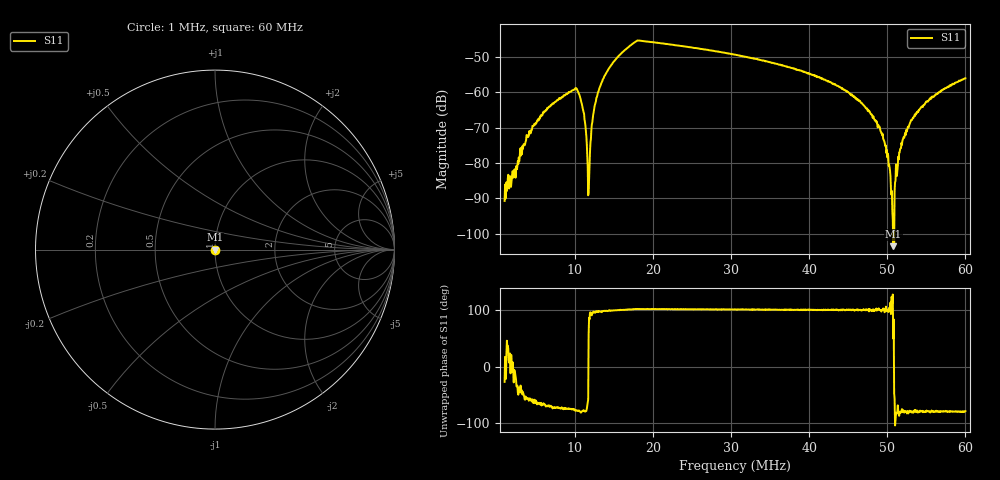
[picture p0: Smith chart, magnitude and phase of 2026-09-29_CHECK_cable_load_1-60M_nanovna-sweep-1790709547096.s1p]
! NanoVNA Web complex sweep
! Processing: unaveraged complex samples; linear segment spacing; no smoothing
# Hz S RI R 50
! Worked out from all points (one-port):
!   1010 points, 1 MHz to 60 MHz, reference 50 ohm
!   lowest |S11| = -103.6 dB at 50.76 MHz (marker M1), VSWR 1.00, Z = 50 + j0.000506 ohm
!   |S11| at or under -10 dB: start of sweep to end of sweep
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1000000  2.57e-05 -1.33e-05
2637272  7.49e-05 -5.09e-05
3982174  0.000122 -0.000196
4859284  0.000157 -0.000323
8426198  0.000219 -0.000818
9946522  0.000252 -0.00107
1.041431e7  0.000203 -0.000994
1.105753e7  0.000109 -0.00054
1.158379e7  4.17e-05 -0.000114
1.175922e7  2.02e-05 3.16e-05
1.193464e7  -1.52e-05 0.000143
1.24609e7  -7.01e-05 0.000568
1.304564e7  -0.000165 0.00104
1.409818e7  -0.000309 0.00192
1.579392e7  -0.000662 0.00337
1.813288e7  -0.00113 0.00527
2.316165e7  -0.000945 0.00449
3.052937e7  -0.000692 0.00333
3.789709e7  -0.000409 0.00215
4.526482e7  -0.000185 0.000912
4.836394e7  -6.57e-05 0.000403
4.929952e7  -4.49e-05 0.00026
5.017663e7  -1.12e-05 8.95e-05
5.076137e7  4.27e-06 5.06e-06
5.128764e7  1.39e-05 -7.55e-05
5.263254e7  5.69e-05 -0.00032
5.514692e7  0.000131 -0.000737
6.000027e7  0.000287 -0.00155
